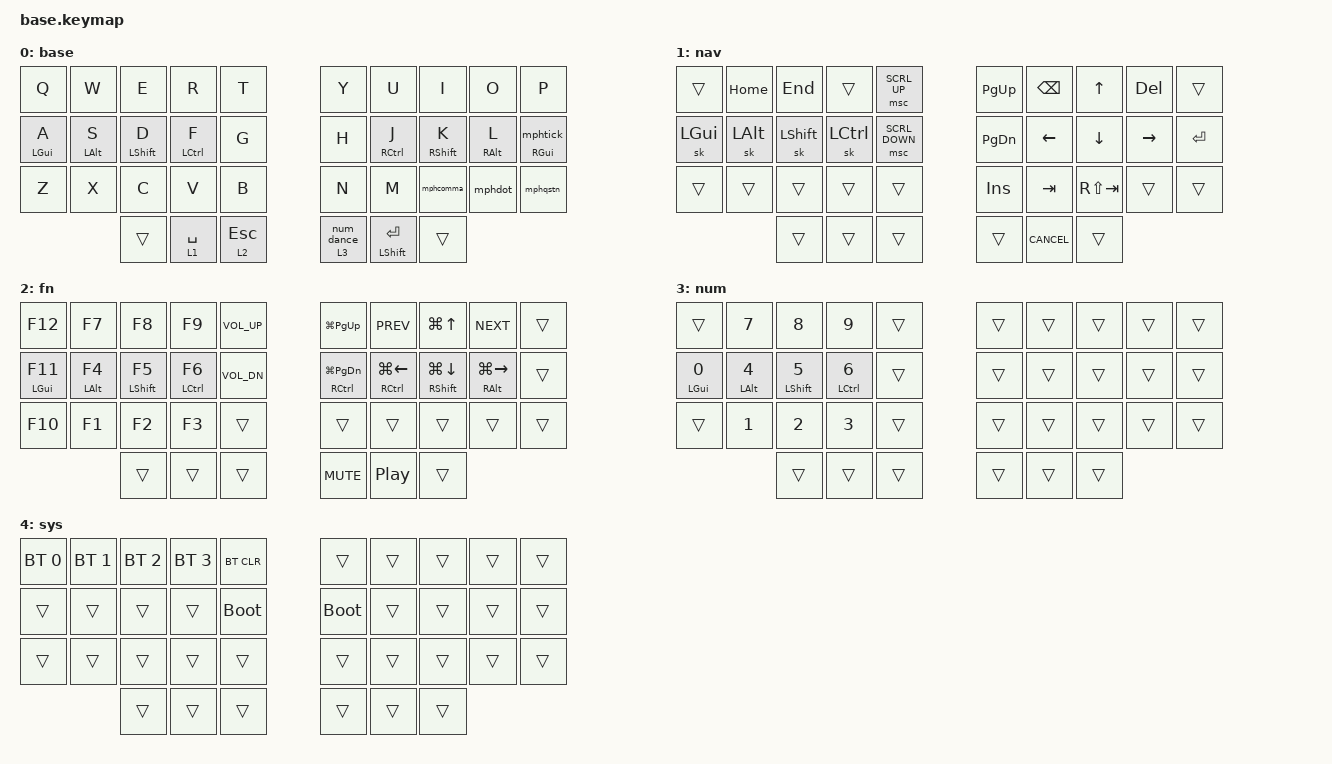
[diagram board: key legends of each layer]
/*
 * Copyright (c) 2020 The ZMK Contributors
 *
 * SPDX-License-Identifier: MIT
 */

#include <behaviors/num_word.dtsi> // Requires auto-layer module.

#define ZMK_POINTING_DEFAULT_SCRL_VAL 20  // 10

#include <behaviors.dtsi>
#include <dt-bindings/zmk/bt.h>
#include <dt-bindings/zmk/keys.h>
#include <dt-bindings/zmk/pointing.h>

&sk {
    release-after-ms = <900>;
    quick-release;
};

&sl { ignore-modifiers; };

&lt {
    flavor = "balanced";
    tapping-term-ms = <200>;
    quick-tap-ms = <175>;
};

/ {
    behaviors {
        hml: home_row_mod_left {
            compatible = "zmk,behavior-hold-tap";
            #binding-cells = <2>;
            flavor = "balanced";
            require-prior-idle-ms = <150>;
            tapping-term-ms = <280>;
            quick-tap-ms = <175>;
            bindings = <&kp>, <&kp>;

            hold-trigger-key-positions = <5 6 7 8 9 15 16 17 18 19 25 26 27 28 29 33 34 35 30 31 32>;
            hold-trigger-on-release;
        };

        hmr: home_row_mod_right {
            compatible = "zmk,behavior-hold-tap";
            #binding-cells = <2>;
            flavor = "balanced";
            require-prior-idle-ms = <150>;
            tapping-term-ms = <280>;
            quick-tap-ms = <175>;
            bindings = <&kp>, <&kp>;

            hold-trigger-key-positions = <4 3 2 1 0 10 14 13 11 20 21 22 12 23 24 30 31 32 33 34 35>;
            hold-trigger-on-release;
        };

        mphcomma: mphcomma {
            compatible = "zmk,behavior-mod-morph";
            label = "MPHCOMMA";
            bindings = <&kp DOT>, <&kp COMMA>;

            #binding-cells = <0>;
            mods = <(MOD_LSFT|MOD_RSFT)>;
        };

        mphdot: mphdot {
            compatible = "zmk,behavior-mod-morph";
            label = "MPHDOT";
            bindings = <&kp COLON>, <&kp SEMICOLON>;

            #binding-cells = <0>;
            mods = <(MOD_LSFT|MOD_RSFT)>;
        };

        mphtick: mphtick {
            compatible = "zmk,behavior-mod-morph";
            label = "MPHTICK";
            bindings = <&kp DOUBLE_QUOTES>, <&kp SQT>;

            #binding-cells = <0>;
            mods = <(MOD_LSFT|MOD_RSFT)>;
        };

        hmr_tick: hmr_tick {
            compatible = "zmk,behavior-hold-tap";
            label = "HMR_TICK";
            bindings = <&kp>, <&mphtick>;

            #binding-cells = <2>;
            require-prior-idle-ms = <150>;
            tapping-term-ms = <280>;
            quick-tap-ms = <175>;
            flavor = "balanced";
            hold-trigger-on-release;
            hold-trigger-key-positions = <0 1 2 3 4 10 11 12 13 14 20 21 22 23 24 30 31 32 33 34 35>;
        };

        mphlpar: mphlpar {
            compatible = "zmk,behavior-mod-morph";
            label = "MPHLPAR";
            bindings = <&kp LPAR>, <&kp LT>;

            #binding-cells = <0>;
            mods = <(MOD_LSFT|MOD_RSFT)>;
        };

        hmr_lpar: hmr_lpar {
            compatible = "zmk,behavior-hold-tap";
            label = "HMR_LPAR";
            bindings = <&kp>, <&mphlpar>;

            #binding-cells = <2>;
            tapping-term-ms = <280>;
            quick-tap-ms = <175>;
            require-prior-idle-ms = <150>;
            flavor = "balanced";
            hold-trigger-key-positions = <33 34 35 0 1 2 3 4 10 11 12 13 14 20 21 22 23 24 30 31 32>;
            hold-trigger-on-release;
        };

        num_smart: num_smart {
            compatible = "zmk,behavior-hold-tap";
            label = "NUM_SMART";
            bindings = <&mo>, <&num_dance>;

            #binding-cells = <2>;
            tapping-term-ms = <200>;
            quick-tap-ms = <175>;
            flavor = "balanced";
        };

        num_dance: num_dance {
            compatible = "zmk,behavior-tap-dance";
            label = "NUM_DANCE";
            #binding-cells = <0>;
            bindings = <&num_word 3>, <&sl 3>;

            tapping-term-ms = <200>;
        };

        shift_magic: shift_magic {
            compatible = "zmk,behavior-hold-tap";
            label = "SHIFT_MAGIC";
            bindings = <&kp>, <&caps_word>;

            #binding-cells = <2>;
            tapping-term-ms = <200>;
            flavor = "balanced";
            quick-tap-ms = <175>;
        };

        mphrpar: mphrpar {
            compatible = "zmk,behavior-mod-morph";
            label = "MPHRPAR";
            bindings = <&kp RPAR>, <&kp GT>;

            #binding-cells = <0>;
            mods = <(MOD_LSFT|MOD_RSFT)>;
        };

        hmr_rpar: hmr_rpar {
            compatible = "zmk,behavior-hold-tap";
            label = "HMR_RPAR";
            bindings = <&kp>, <&mphrpar>;

            #binding-cells = <2>;
            tapping-term-ms = <280>;
            quick-tap-ms = <175>;
            require-prior-idle-ms = <150>;
            flavor = "balanced";
            hold-trigger-key-positions = <33 34 35 0 1 2 3 4 10 11 12 13 14 20 21 22 23 24 30 31 32>;
            hold-trigger-on-release;
        };

        mphqstn: mphqstn {
            compatible = "zmk,behavior-mod-morph";
            label = "MPHQSTN";
            bindings = <&kp QUESTION>, <&kp EXCL>;

            #binding-cells = <0>;
            mods = <(MOD_LSFT|MOD_RSFT)>;
        };
    };

    combos {
        compatible = "zmk,combos";

        esc {
            bindings = <&kp ESC>;
            key-positions = <1 2>;
            layers = <0 3>;
            timeout-ms = <30>;
            require-prior-idle-ms = <150>;
        };

        tab {
            bindings = <&hml LS(LALT) TAB>;
            key-positions = <11 12>;
            timeout-ms = <30>;
            require-prior-idle-ms = <150>;
            layers = <0 1 3>;
        };

        cut {
            bindings = <&kp LC(X)>;
            key-positions = <21 23>;
            timeout-ms = <30>;
            require-prior-idle-ms = <150>;
            layers = <0 3 1>;
        };

        copy {
            bindings = <&kp LC(INS)>;
            key-positions = <21 22>;
            timeout-ms = <30>;
            require-prior-idle-ms = <150>;
            layers = <0 3 1>;
        };

        paste {
            bindings = <&kp LS(INS)>;
            key-positions = <22 23>;
            timeout-ms = <30>;
            require-prior-idle-ms = <150>;
            layers = <0 3 1>;
        };

        rpar {
            bindings = <&hmr_rpar RS(RALT) 0>;
            key-positions = <17 18>;
            timeout-ms = <30>;
            require-prior-idle-ms = <150>;
            layers = <0 3>;
        };

        lpar {
            bindings = <&hmr_lpar RS(RCTRL) 0>;
            key-positions = <16 17>;
            timeout-ms = <30>;
            require-prior-idle-ms = <150>;
            layers = <0 3>;
        };

        bspc {
            bindings = <&kp BSPC>;
            key-positions = <6 7>;
            timeout-ms = <30>;
            require-prior-idle-ms = <150>;
            layers = <0 3>;
        };

        del {
            bindings = <&kp DEL>;
            key-positions = <7 8>;
            timeout-ms = <30>;
            require-prior-idle-ms = <150>;
            layers = <0 3>;
        };

        lbkt {
            bindings = <&kp LBKT>;
            key-positions = <27 26>;
            timeout-ms = <30>;
            require-prior-idle-ms = <150>;
            layers = <0 3>;
        };

        rbkt {
            bindings = <&kp RBKT>;
            key-positions = <27 28>;
            timeout-ms = <30>;
            require-prior-idle-ms = <150>;
            layers = <0 3>;
        };

        caret {
            bindings = <&kp CARET>;
            key-positions = <5 15>;
            timeout-ms = <35>;
            require-prior-idle-ms = <50>;
            layers = <0 3>;
        };

        plus {
            bindings = <&kp PLUS>;
            key-positions = <6 16>;
            timeout-ms = <35>;
            require-prior-idle-ms = <50>;
            layers = <0 3>;
        };

        star {
            bindings = <&kp STAR>;
            key-positions = <7 17>;
            timeout-ms = <35>;
            require-prior-idle-ms = <50>;
            layers = <0 3>;
        };

        amps {
            bindings = <&kp AMPS>;
            key-positions = <8 18>;
            timeout-ms = <35>;
            require-prior-idle-ms = <50>;
            layers = <0 3>;
        };

        under {
            bindings = <&kp UNDER>;
            key-positions = <15 25>;
            timeout-ms = <35>;
            require-prior-idle-ms = <50>;
            layers = <0 3>;
        };

        minus {
            bindings = <&kp MINUS>;
            key-positions = <26 16>;
            timeout-ms = <35>;
            require-prior-idle-ms = <50>;
            layers = <0 3>;
        };

        fslh {
            bindings = <&kp FSLH>;
            key-positions = <17 27>;
            timeout-ms = <35>;
            require-prior-idle-ms = <50>;
            layers = <0 3>;
        };

        pipe {
            bindings = <&kp PIPE>;
            key-positions = <28 18>;
            timeout-ms = <35>;
            require-prior-idle-ms = <50>;
            layers = <0 3>;
        };

        at {
            bindings = <&kp AT>;
            key-positions = <11 1>;
            timeout-ms = <35>;
            require-prior-idle-ms = <50>;
            layers = <0 3 1>;
        };

        hash {
            bindings = <&kp HASH>;
            key-positions = <12 2>;
            timeout-ms = <35>;
            require-prior-idle-ms = <50>;
            layers = <0 3 1>;
        };

        dllr {
            bindings = <&kp DLLR>;
            key-positions = <3 13>;
            timeout-ms = <35>;
            require-prior-idle-ms = <50>;
            layers = <0 3 1>;
        };

        prcnt {
            bindings = <&kp PRCNT>;
            key-positions = <4 14>;
            timeout-ms = <35>;
            require-prior-idle-ms = <50>;
            layers = <0 3 1>;
        };

        grave {
            bindings = <&kp GRAVE>;
            key-positions = <21 11>;
            timeout-ms = <35>;
            require-prior-idle-ms = <50>;
            layers = <0 3 1>;
        };

        bslh {
            bindings = <&kp BSLH>;
            key-positions = <22 12>;
            timeout-ms = <35>;
            require-prior-idle-ms = <50>;
            layers = <0 3 1>;
        };

        equal {
            bindings = <&kp EQUAL>;
            key-positions = <13 23>;
            timeout-ms = <35>;
            require-prior-idle-ms = <50>;
            layers = <0 3 1>;
        };

        tilde {
            bindings = <&kp TILDE>;
            key-positions = <24 14>;
            timeout-ms = <35>;
            require-prior-idle-ms = <50>;
            layers = <0 3 1>;
        };
    };

    keymap {
        compatible = "zmk,keymap";

        base {
            // -----------------------------------------------------------------------------------------
            // |  Q  |  W  |  E  |  R  |  T  |   |  Y  |  U   |  I  |  O  |  P  |
            // |  A  |  S  |  D  |  F  |  G  |   |  H  |  J   |  K  |  L  |  ;  |
            // |  Z  |  X  |  C  |  V  |  B  |   |  N  |  M   |  ,  |  .  |  /  |
            //                    | GUI | LWR | SPC |   | ENT | RSE  | ALT |

            bindings = <
  &kp Q        &kp W        &kp E         &kp R         &kp T        &kp Y           &kp U           &kp I          &kp O             &kp P
  &hml LGUI A  &hml LALT S  &hml LSHFT D  &hml LCTRL F  &kp G        &kp H           &hmr RCTRL J    &hmr RSHIFT K  &hmr RIGHT_ALT L  &hmr_tick RGUI 0
  &kp Z        &kp X        &kp C         &kp V         &kp B        &kp N           &kp M           &mphcomma      &mphdot           &mphqstn
                            &trans        &lt 1 SPACE   &lt 2 ESC    &num_smart 3 0  &mt LSHIFT RET  &trans
            >;
        };

        nav {
            bindings = <
  &trans    &kp HOME  &kp END     &trans     &msc SCRL_UP      &kp PG_UP  &kp BSPC      &kp UP       &kp DEL    &trans
  &sk LGUI  &sk LALT  &sk LSHIFT  &sk LCTRL  &msc SCRL_DOWN    &kp PG_DN  &kp LEFT      &kp DOWN     &kp RIGHT  &kp RET
  &trans    &trans    &trans      &trans     &trans            &kp INS    &kp TAB       &kp RS(TAB)  &trans     &trans
                      &trans      &trans     &trans            &trans     &kp K_CANCEL  &trans
            >;
        };

        fn {
            bindings = <
  &kp F12        &kp F7        &kp F8          &kp F9         &kp C_VOL_UP    &kp LG(PG_UP)         &kp C_PREV           &kp LG(UP)            &kp C_NEXT                &trans
  &hml LGUI F11  &hml LALT F4  &hml LSHIFT F5  &hml LCTRL F6  &kp C_VOL_DN    &hmr RCTRL LG(PG_DN)  &hmr RCTRL LG(LEFT)  &hmr RSHIFT LG(DOWN)  &hmr RIGHT_ALT LG(RIGHT)  &trans
  &kp F10        &kp F1        &kp F2          &kp F3         &trans          &trans                &trans               &trans                &trans                    &trans
                               &trans          &trans         &trans          &kp C_MUTE            &kp C_PP             &trans
            >;
        };

        num {
            bindings = <
  &trans        &kp N7        &kp N8          &kp N9         &trans    &trans  &trans  &trans  &trans  &trans
  &hml LGUI N0  &hml LALT N4  &hml LSHIFT N5  &hml LCTRL N6  &trans    &trans  &trans  &trans  &trans  &trans
  &trans        &kp N1        &kp N2          &kp N3         &trans    &trans  &trans  &trans  &trans  &trans
                              &trans          &trans         &trans    &trans  &trans  &trans
            >;
        };

        sys {
            bindings = <
  &bt BT_SEL 0  &bt BT_SEL 1  &bt BT_SEL 2  &bt BT_SEL 3  &bt BT_CLR     &trans       &trans  &trans  &trans  &trans
  &trans        &trans        &trans        &trans        &bootloader    &bootloader  &trans  &trans  &trans  &trans
  &trans        &trans        &trans        &trans        &trans         &trans       &trans  &trans  &trans  &trans
                              &trans        &trans        &trans         &trans       &trans  &trans
            >;
        };
    };

    conditional_layers {
        compatible = "zmk,conditional-layers";

        sys {
            if-layers = <2 3>;
            then-layer = <4>;
        };
    };
};
